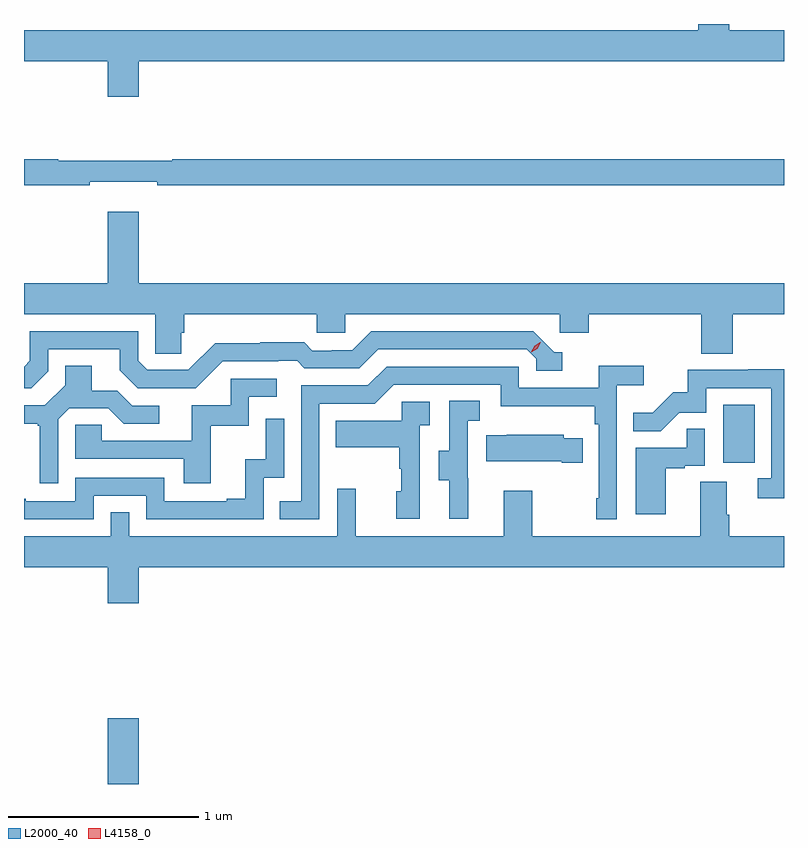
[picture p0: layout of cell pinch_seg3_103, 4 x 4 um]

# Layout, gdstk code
import gdstk
lib = gdstk.Library(unit=1e-6, precision=1e-09)
def R(c, l, rs):  # rectangles x0, y0, x1, y1
    for r in rs: c.add(gdstk.rectangle(r[:2], r[2:], *l))
def P(c, l, *ps):  # polygons
    for p in ps: c.add(gdstk.Polygon(p, *l))
L2000_40 = (2000, 40)
L4158_0 = (4158, 0)

pinch_seg3_103 = lib.new_cell('pinch_seg3_103')
R(pinch_seg3_103, L2000_40, [(1028.144,722.42,1028.308,722.767), (1031.384,724.11,1031.548,724.417)])
P(pinch_seg3_103, L2000_40, [(1028.308,726.224),(1031.703,726.224),(1031.703,726.388),(1031.416,726.388),(1031.416,726.42),(1031.252,726.42),(1031.252,726.388),(1027.703,726.388),(1027.703,726.224),(1028.144,726.224),(1028.144,726.036),(1028.308,726.036)],
  [(1028.048,725.591),(1028.404,725.591),(1028.404,725.572),(1031.703,725.572),(1031.703,725.708),(1028.483,725.708),(1028.483,725.701),(1027.883,725.701),(1027.883,725.708),(1027.703,725.708),(1027.703,725.572),(1028.048,725.572)],
  [(1028.531,724.794),(1028.546,724.794),(1028.546,724.892),(1029.243,724.892),(1029.243,724.794),(1029.393,724.794),(1029.393,724.892),(1030.524,724.892),(1030.524,724.794),(1030.676,724.794),(1030.676,724.892),(1031.267,724.892),(1031.267,724.684),(1031.432,724.684),(1031.432,724.892),(1031.703,724.892),(1031.703,725.056),(1028.308,725.056),(1028.308,725.431),(1028.144,725.431),(1028.144,725.056),(1027.703,725.056),(1027.703,724.892),(1028.394,724.892),(1028.394,724.684),(1028.531,724.684)],
  [(1027.83,724.593),(1027.83,724.707),(1028.207,724.707),(1028.207,724.597),(1028.301,724.503),(1028.607,724.503),(1028.748,724.644),(1029.041,724.644),(1029.041,724.647),(1029.14,724.647),(1029.179,724.608),(1029.468,724.608),(1029.567,724.707),(1030.35,724.707),(1030.398,724.659),(1030.398,724.596),(1030.537,724.596),(1030.537,724.692),(1030.494,724.692),(1030.383,724.803),(1029.53,724.803),(1029.431,724.704),(1029.324,724.704),(1029.324,724.701),(1029.221,724.701),(1029.179,724.744),(1028.946,724.744),(1028.946,724.741),(1028.71,724.741),(1028.568,724.599),(1028.352,724.599),(1028.304,724.647),(1028.304,724.803),(1027.734,724.803),(1027.734,724.647),(1027.703,724.616),(1027.703,724.503),(1027.74,724.503)],
  [(1027.884,724.341),(1027.941,724.398),(1028.147,724.398),(1028.228,724.317),(1028.416,724.317),(1028.416,724.41),(1028.274,724.41),(1028.194,724.49),(1028.059,724.49),(1028.059,724.622),(1027.919,724.622),(1027.919,724.52),(1027.812,724.413),(1027.703,724.413),(1027.703,724.316),(1027.776,724.316),(1027.776,724.305),(1027.787,724.305),(1027.787,724.002),(1027.884,724.002)],
  [(1029.258,724.422),(1029.549,724.422),(1029.648,724.521),(1030.212,724.521),(1030.212,724.409),(1030.708,724.409),(1030.708,724.313),(1030.728,724.313),(1030.728,723.925),(1030.716,723.925),(1030.716,723.813),(1030.824,723.813),(1030.824,724.52),(1030.966,724.52),(1030.966,724.622),(1030.727,724.622),(1030.727,724.506),(1030.308,724.506),(1030.308,724.617),(1029.611,724.617),(1029.512,724.518),(1029.162,724.518),(1029.162,723.909),(1029.049,723.909),(1029.049,723.813),(1029.258,723.813)],
  [(1031.703,724.604),(1031.515,724.604),(1031.515,724.599),(1031.197,724.599),(1031.197,724.482),(1031.12,724.482),(1031.013,724.375),(1030.909,724.375),(1030.909,724.276),(1031.053,724.276),(1031.151,724.374),(1031.295,724.374),(1031.295,724.503),(1031.637,724.503),(1031.637,724.029),(1031.565,724.029),(1031.565,723.924),(1031.703,723.924)],
  [(1028.687,724.305),(1028.886,724.305),(1028.886,724.458),(1029.034,724.458),(1029.034,724.554),(1028.79,724.554),(1028.79,724.413),(1028.585,724.413),(1028.585,724.227),(1028.111,724.227),(1028.111,724.311),(1027.974,724.311),(1027.974,724.131),(1028.543,724.131),(1028.543,724.002),(1028.687,724.002)],
  [(1030.04,724.029),(1030.038,724.029),(1030.038,724.333),(1030.102,724.333),(1030.102,724.436),(1029.942,724.436),(1029.942,724.173),(1029.887,724.173),(1029.887,724.018),(1029.941,724.018),(1029.941,723.816),(1030.04,723.816)],
  [(1029.786,724.307),(1029.838,724.307),(1029.838,724.431),(1029.69,724.431),(1029.69,724.333),(1029.343,724.333),(1029.343,724.193),(1029.678,724.193),(1029.678,724.079),(1029.688,724.079),(1029.688,723.96),(1029.662,723.96),(1029.662,723.816),(1029.786,723.816)],
  [(1028.07,723.936),(1028.346,723.936),(1028.346,723.813),(1028.964,723.813),(1028.964,724.032),(1029.072,724.032),(1029.072,724.342),(1028.976,724.342),(1028.976,724.13),(1028.867,724.13),(1028.867,723.922),(1028.771,723.922),(1028.771,723.909),(1028.442,723.909),(1028.442,724.032),(1027.974,724.032),(1027.974,723.909),(1027.711,723.909),(1027.711,723.922),(1027.703,723.922),(1027.703,723.813),(1028.07,723.813)],
  [(1031.08,724.083),(1031.18,724.083),(1031.18,724.095),(1031.286,724.095),(1031.286,724.289),(1031.191,724.289),(1031.191,724.191),(1030.922,724.191),(1030.922,723.84),(1031.08,723.84)],
  [(1030.643,724.24),(1030.545,724.24),(1030.545,724.258),(1030.243,724.258),(1030.243,724.255),(1030.135,724.255),(1030.135,724.118),(1030.532,724.118),(1030.532,724.111),(1030.643,724.111)],
  [(1028.308,723.56),(1031.703,723.56),(1031.703,723.724),(1031.414,723.724),(1031.414,723.836),(1031.401,723.836),(1031.401,724.01),(1031.261,724.01),(1031.261,723.724),(1030.377,723.724),(1030.377,723.964),(1030.229,723.964),(1030.229,723.724),(1029.449,723.724),(1029.449,723.973),(1029.351,723.973),(1029.351,723.724),(1028.256,723.724),(1028.256,723.851),(1028.16,723.851),(1028.16,723.724),(1027.703,723.724),(1027.703,723.56),(1028.144,723.56),(1028.144,723.372),(1028.308,723.372)])
P(pinch_seg3_103, L4158_0, [(1030.374,724.693),(1030.374,724.694),(1030.39,724.726),(1030.421,724.744),(1030.422,724.744),(1030.422,724.744),(1030.405,724.712),(1030.374,724.693)])

lib.write_gds('pinch_seg3_103.gds')
